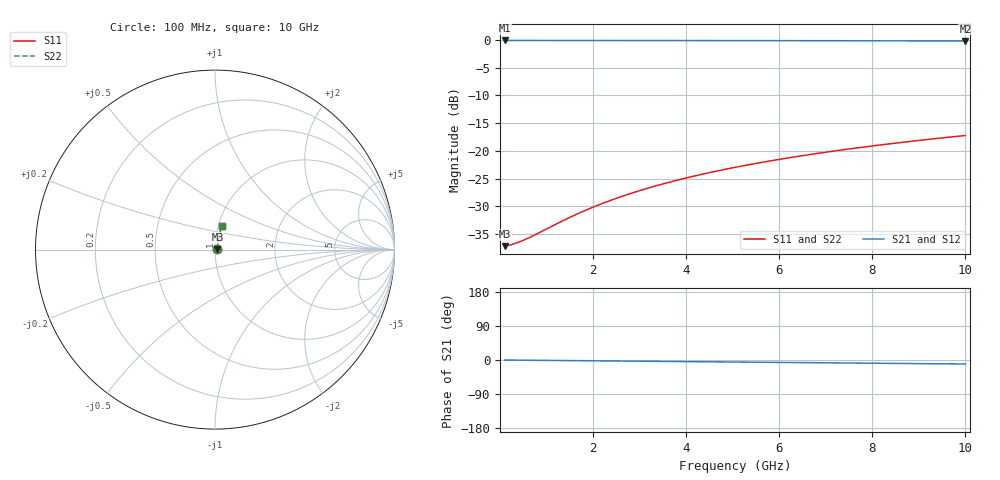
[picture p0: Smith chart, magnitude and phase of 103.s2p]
# Hz S RI R 50.00
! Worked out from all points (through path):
!   100 points, 100 MHz to 10 GHz, reference 50 ohm
!   highest |S21| = -0.12 dB at 100 MHz (marker M1); lowest = -0.2 dB at 10 GHz (marker M2)
!   group delay of S21, straight-line fit = 2.94 ps
!   lowest |S11| = -37.2 dB at 100 MHz (marker M3), VSWR 1.03, Z = 51.4 + j0.139 ohm
!   |S11| at or under -10 dB: start of sweep to end of sweep
!   |S22| runs from -37.2 to -17.2 dB; largest |S21 - S12| = 0
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1e8  0.0138 0.00136  0.9862 -0.00183  0.9862 -0.00183  0.0138 0.00136
2e8  0.0139 0.00271  0.9861 -0.00366  0.9861 -0.00366  0.0139 0.00271
3e8  0.014 0.00406  0.986 -0.00549  0.986 -0.00549  0.014 0.00406
4e8  0.0141 0.00542  0.9859 -0.00732  0.9859 -0.00732  0.0141 0.00542
5e8  0.0141 0.00677  0.9859 -0.00915  0.9859 -0.00915  0.0141 0.00677
7e8  0.0143 0.00948  0.9857 -0.0128  0.9857 -0.0128  0.0143 0.00948
1.4e9  0.0148 0.0189  0.9852 -0.0256  0.9852 -0.0256  0.0148 0.0189
1.8e9  0.0152 0.0243  0.9848 -0.0329  0.9848 -0.0329  0.0152 0.0243
2.2e9  0.0157 0.0297  0.9843 -0.0402  0.9843 -0.0402  0.0157 0.0297
2.6e9  0.0162 0.0351  0.9837 -0.0475  0.9837 -0.0475  0.0162 0.0351
3e9  0.0168 0.0405  0.9831 -0.0547  0.9831 -0.0547  0.0168 0.0405
3.4e9  0.0175 0.0458  0.9823 -0.062  0.9823 -0.062  0.0175 0.0458
3.8e9  0.0183 0.0512  0.9815 -0.0693  0.9815 -0.0693  0.0183 0.0512
4.2e9  0.0191 0.0565  0.9807 -0.0765  0.9807 -0.0765  0.0191 0.0565
4.6e9  0.02 0.0619  0.9797 -0.0837  0.9797 -0.0837  0.02 0.0619
5.1e9  0.0213 0.0685  0.9784 -0.0928  0.9784 -0.0928  0.0213 0.0685
5.9e9  0.0235 0.079  0.976 -0.1071  0.976 -0.1071  0.0235 0.079
6.7e9  0.0261 0.0895  0.9733 -0.1214  0.9733 -0.1214  0.0261 0.0895
7.5e9  0.029 0.0999  0.9703 -0.1356  0.9703 -0.1356  0.029 0.0999
8.4e9  0.0326 0.1114  0.9666 -0.1515  0.9666 -0.1515  0.0326 0.1114
9.2e9  0.0361 0.1216  0.9629 -0.1655  0.9629 -0.1655  0.0361 0.1216
1e10  0.0399 0.1316  0.959 -0.1793  0.959 -0.1793  0.0399 0.1316
